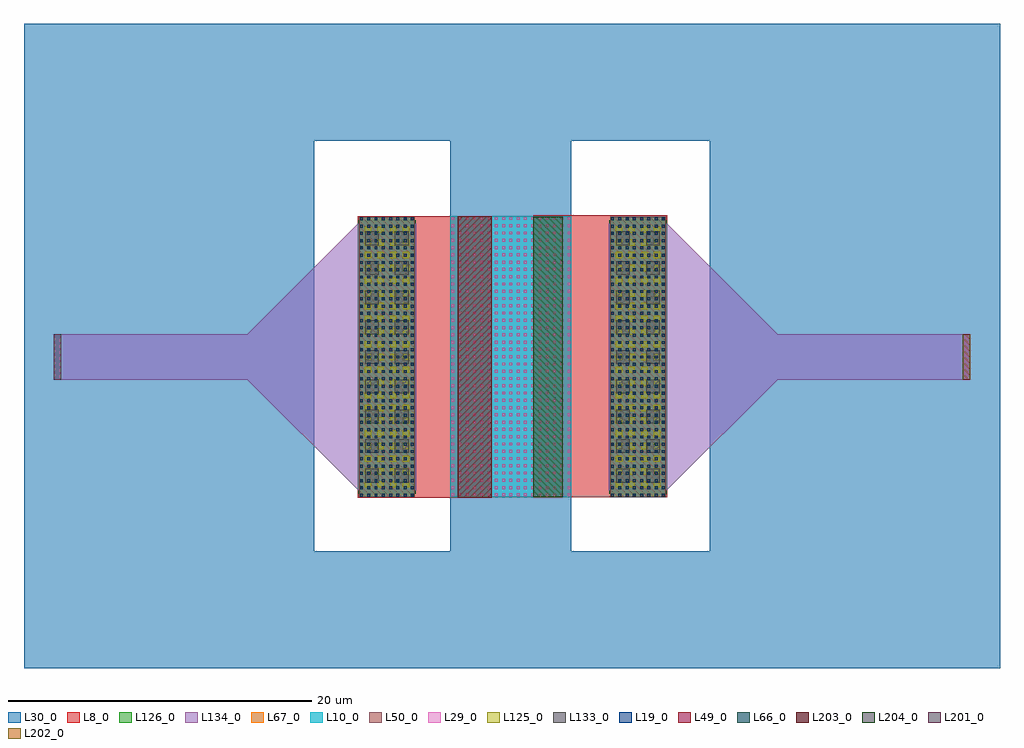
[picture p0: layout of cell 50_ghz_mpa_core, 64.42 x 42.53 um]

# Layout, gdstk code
from math import pi, radians
import gdstk
lib = gdstk.Library(unit=1e-6, precision=1e-09)
def R(c, l, rs):  # rectangles x0, y0, x1, y1
    for r in rs: c.add(gdstk.rectangle(r[:2], r[2:], *l))
def A(c, l, x, y, w, h, nx, ny, dx, dy):  # array of equal rectangles
    R(c, l, [(x+i*dx, y+j*dy, x+i*dx+w, y+j*dy+h) for i in range(nx) for j in range(ny)])
def P(c, l, *ps):  # polygons
    for p in ps: c.add(gdstk.Polygon(p, *l))
L8_0 = (8, 0)
L10_0 = (10, 0)
L19_0 = (19, 0)
L29_0 = (29, 0)
L30_0 = (30, 0)
L49_0 = (49, 0)
L50_0 = (50, 0)
L66_0 = (66, 0)
L67_0 = (67, 0)
L125_0 = (125, 0)
L126_0 = (126, 0)
L133_0 = (133, 0)
L134_0 = (134, 0)
L201_0 = (201, 0)
L202_0 = (202, 0)
L203_0 = (203, 0)
L204_0 = (204, 0)

via_stack_1 = lib.new_cell('via_stack$1')
R(via_stack_1, L8_0, [(-1.825,-9.265,1.825,9.265)])
R(via_stack_1, L10_0, [(-1.825,-9.265,1.825,9.265)])
A(via_stack_1, L19_0, -1.775, -9.215, 0.19, 0.19, 8, 39, 0.48, 0.48)
A(via_stack_1, L29_0, -1.775, -9.215, 0.19, 0.19, 8, 39, 0.48, 0.48)
R(via_stack_1, L30_0, [(-1.825,-9.265,1.825,9.265)])
A(via_stack_1, L49_0, -1.775, -9.215, 0.19, 0.19, 8, 39, 0.48, 0.48)
R(via_stack_1, L50_0, [(-1.825,-9.265,1.825,9.265)])
A(via_stack_1, L66_0, -1.775, -9.215, 0.19, 0.19, 8, 39, 0.48, 0.48)
R(via_stack_1, L67_0, [(-1.825,-9.265,1.825,9.265), (-1.57,-8.71,1.57,8.71)])
A(via_stack_1, L125_0, -1.47, -8.61, 0.42, 0.42, 4, 21, 0.84, 0.84)
R(via_stack_1, L126_0, [(-1.89,-9.03,1.89,9.03), (-1.93,-8.79,1.93,8.79)])
A(via_stack_1, L133_0, -1.43, -8.29, 0.9, 0.9, 1, 9, 0, 1.96)
A(via_stack_1, L133_0, 0.53, -8.29, 0.9, 0.9, 1, 9, 0, 1.96)
R(via_stack_1, L134_0, [(-1.93,-8.79,1.93,8.79)])

via_stack = lib.new_cell('via_stack')
R(via_stack, L10_0, [(-3.985,-9.265,3.985,9.265)])
A(via_stack, L29_0, -3.935, -9.215, 0.19, 0.19, 17, 39, 0.48, 0.48)
R(via_stack, L30_0, [(-3.985,-9.265,3.985,9.265)])

c_50_ghz_mpa_core = lib.new_cell('50_ghz_mpa_core')
R(c_50_ghz_mpa_core, L8_0, [(-14.725,-17.78,-5.87,0.82), (-3.15,-17.73,5.705,0.87)])
R(c_50_ghz_mpa_core, L30_0, [(-36.75,-29.02,-34.8,13.51), (-34.8,-29.02,-17.595,13.51), (-17.595,-29.02,8.515,-21.315), (8.515,-29.02,25.72,13.51), (25.72,-29.02,27.67,13.51), (-8.6,-21.315,-0.63,-17.725), (-8.6,0.805,-0.63,5.805), (-17.595,5.805,8.515,13.51)])
R(c_50_ghz_mpa_core, L134_0, [(-34.8,-9.97,-14.725,-6.97), (5.705,-9.97,25.72,-6.97)])
P(c_50_ghz_mpa_core, L134_0, [(5.705,-6.97),(5.705,0.31),(12.985,-6.97)],
  [(5.705,-17.25),(5.705,-9.97),(12.985,-9.97)],
  [(-14.725,-17.25),(-22.005,-9.97),(-14.725,-9.97)],
  [(-22.005,-6.97),(-14.725,0.31),(-14.725,-6.97)],
  [(-22.005,-6.97),(-14.725,0.31),(-14.725,-6.97)])
R(c_50_ghz_mpa_core, L201_0, [(-34.8,-9.97,-34.3,-6.97)])
R(c_50_ghz_mpa_core, L202_0, [(25.22,-9.97,25.72,-6.97)])
R(c_50_ghz_mpa_core, L203_0, [(-8.135,-17.78,-5.87,0.82)])
R(c_50_ghz_mpa_core, L204_0, [(-3.15,-17.73,-1.19,0.77)])
c_50_ghz_mpa_core.add(gdstk.Reference(via_stack_1, (-12.795,-8.48)))
c_50_ghz_mpa_core.add(gdstk.Reference(via_stack_1, (-12.795,-8.48)))
c_50_ghz_mpa_core.add(gdstk.Reference(via_stack, (-4.615,-8.46)))
c_50_ghz_mpa_core.add(gdstk.Reference(via_stack_1, (-12.795,-8.48)))
c_50_ghz_mpa_core.add(gdstk.Reference(via_stack_1, (3.775,-8.48), rotation=pi))

lib.write_gds('50_ghz_mpa_core.gds')
